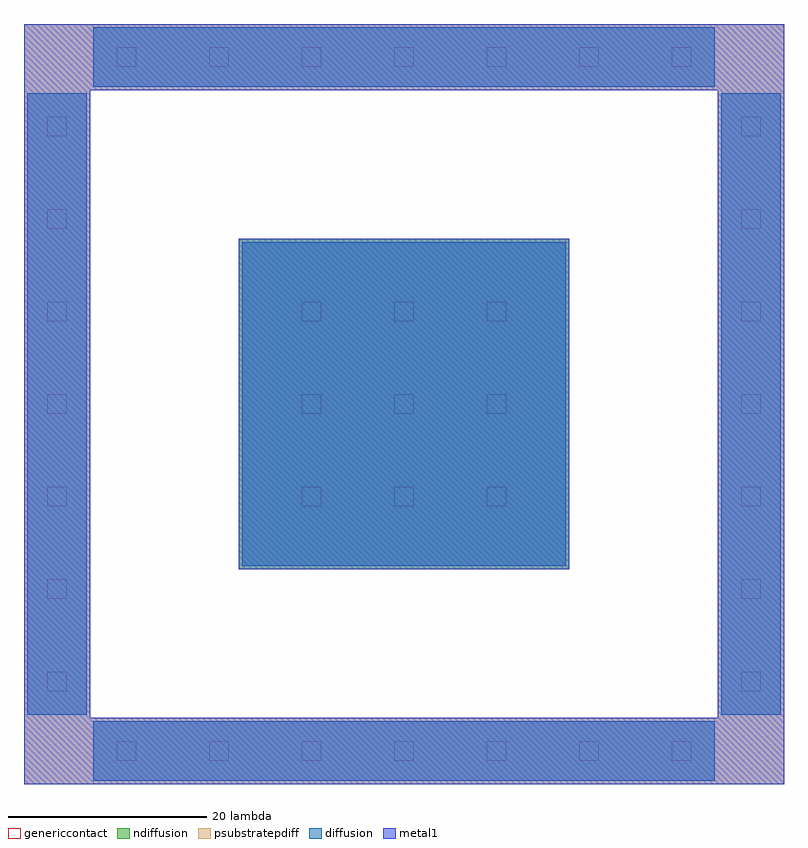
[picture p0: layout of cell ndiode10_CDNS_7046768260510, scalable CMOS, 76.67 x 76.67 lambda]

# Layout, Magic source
magic
tech scmos
magscale 1 3
<< ndiffusion >>
rect 75 75 175 175
<< psubstratepdiff >>
rect 10 220 240 240
rect 10 30 30 220
rect 220 30 240 220
rect 10 10 240 30
<< metal1 >>
rect 10 220 240 240
rect 10 30 30 220
rect 75 75 175 175
rect 220 30 240 220
rect 10 10 240 30
use ntap_CDNS_7046768260512  ntap_CDNS_7046768260512_0
transform 1 0 71 0 1 71
box 4 4 104 104
use ptap_CDNS_7046768260511  ptap_CDNS_7046768260511_0
transform 1 0 216 0 1 26
box 4 4 24 194
use ptap_CDNS_7046768260511  ptap_CDNS_7046768260511_1
transform 0 1 26 1 0 216
box 4 4 24 194
use ptap_CDNS_7046768260511  ptap_CDNS_7046768260511_2
transform 0 1 26 1 0 6
box 4 4 24 194
use ptap_CDNS_7046768260511  ptap_CDNS_7046768260511_3
transform 1 0 6 0 1 26
box 4 4 24 194
<< end >>

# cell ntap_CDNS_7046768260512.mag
magic
tech scmos
magscale 1 3
<< diffusion >>
rect 5 5 103 103
<< genericcontact >>
rect 23 79 29 85
rect 51 79 57 85
rect 79 79 85 85
rect 23 51 29 57
rect 51 51 57 57
rect 79 51 85 57
rect 23 23 29 29
rect 51 23 57 29
rect 79 23 85 29
<< metal1 >>
rect 4 4 104 104
<< end >>

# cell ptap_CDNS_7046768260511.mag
magic
tech scmos
magscale 1 3
<< diffusion >>
rect 5 5 23 193
<< genericcontact >>
rect 11 180 17 186
rect 11 152 17 158
rect 11 124 17 130
rect 11 96 17 102
rect 11 68 17 74
rect 11 40 17 46
rect 11 12 17 18
<< metal1 >>
rect 4 4 24 194
<< end >>
